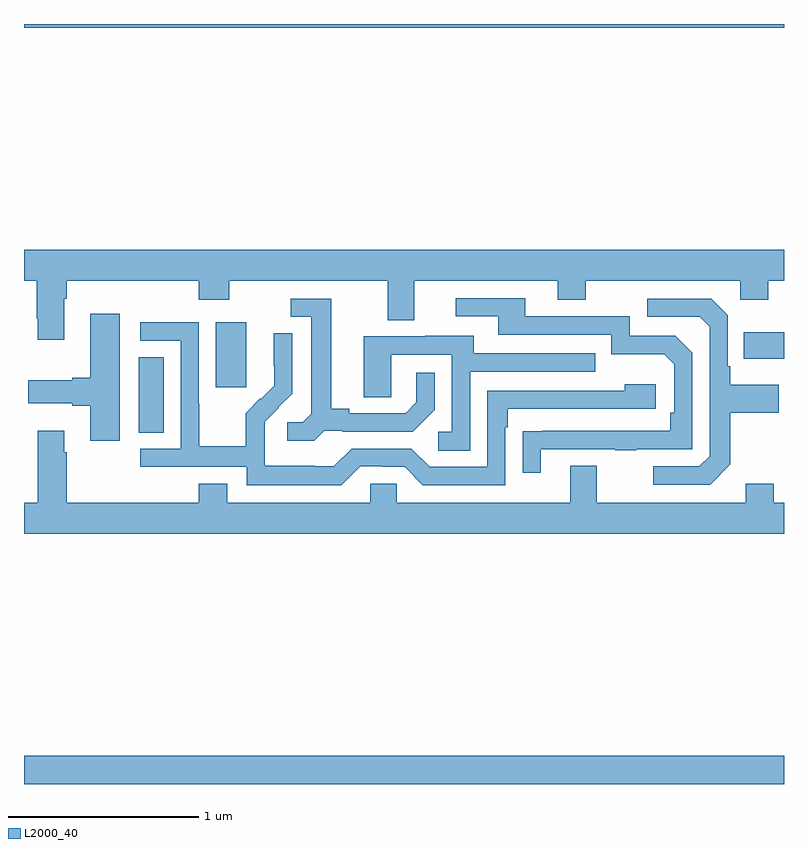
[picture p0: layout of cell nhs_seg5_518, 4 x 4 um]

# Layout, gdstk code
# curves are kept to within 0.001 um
import gdstk
lib = gdstk.Library(unit=1e-6, precision=1e-09)
def R(c, l, rs):  # rectangles x0, y0, x1, y1
    for r in rs: c.add(gdstk.rectangle(r[:2], r[2:], *l))
def P(c, l, *ps):  # polygons
    for p in ps: c.add(gdstk.Polygon(p, *l))
L2000_40 = (2000, 40)

nhs_seg5_518 = lib.new_cell('nhs_seg5_518')
R(nhs_seg5_518, L2000_40, [(145,832.799,149,832.948), (145.604,834.649,145.735,835.046), (146.009,834.888,146.17,835.228), (148.789,835.037,149,835.177), (145,836.78,149,836.799)])
P(nhs_seg5_518, L2000_40, [(145,835.448),(145.066,835.448),(145.066,835.249),(145.073,835.249),(145.073,835.137),(145.213,835.137),(145.213,835.352),(145.226,835.352),(145.226,835.448),(145.919,835.448),(145.919,835.349),(146.079,835.349),(146.079,835.448),(146.915,835.448),(146.915,835.24),(147.055,835.24),(147.055,835.448),(147.809,835.448),(147.809,835.349),(147.957,835.349),(147.957,835.448),(148.77,835.448),(148.77,835.349),(148.917,835.349),(148.917,835.448),(149,835.448),(149,835.612),(145,835.612)],
  [(147.721,834.561),(148.111,834.561),(148.111,834.556),(148.223,834.556),(148.223,834.561),(148.518,834.561),(148.518,835.068),(148.428,835.158),(148.188,835.158),(148.188,835.26),(147.637,835.26),(147.637,835.356),(147.273,835.356),(147.273,835.26),(147.497,835.26),(147.497,835.164),(148.092,835.164),(148.092,835.061),(148.369,835.061),(148.422,835.008),(148.422,834.754),(148.402,834.754),(148.402,834.657),(147.625,834.656),(147.625,834.438),(147.721,834.438)],
  [(146.58,834.657),(146.674,834.657),(146.674,834.654),(147.046,834.654),(147.162,834.77),(147.162,834.964),(147.065,834.964),(147.065,834.807),(147.008,834.75),(146.713,834.75),(146.713,834.773),(146.617,834.773),(146.617,835.353),(146.403,835.353),(146.403,835.257),(146.513,835.257),(146.513,834.749),(146.466,834.702),(146.385,834.702),(146.385,834.605),(146.528,834.605)],
  [(148.717,834.481),(148.717,834.754),(148.973,834.754),(148.973,834.901),(148.717,834.901),(148.717,834.997),(148.704,834.997),(148.704,835.266),(148.617,835.353),(148.281,835.353),(148.281,835.257),(148.557,835.257),(148.608,835.206),(148.608,834.525),(148.554,834.471),(148.311,834.471),(148.311,834.375),(148.611,834.375)],
  [(145.504,835.273),(145.349,835.273),(145.349,834.938),(145.253,834.938),(145.253,834.925),(145.023,834.925),(145.023,834.803),(145.253,834.803),(145.253,834.791),(145.349,834.791),(145.349,834.606),(145.504,834.606)],
  [(146.769,834.471),(146.885,834.471),(146.885,834.468),(147.003,834.468),(147.099,834.372),(147.534,834.372),(147.534,834.677),(147.547,834.677),(147.547,834.774),(148.324,834.774),(148.324,834.904),(148.163,834.904),(148.163,834.87),(147.438,834.87),(147.438,834.468),(147.135,834.468),(147.039,834.564),(146.724,834.564),(146.631,834.471),(146.531,834.471),(146.531,834.475),(146.268,834.475),(146.268,834.609),(146.266,834.609),(146.266,834.706),(146.412,834.854),(146.412,835.172),(146.315,835.172),(146.315,835),(146.318,835),(146.318,834.896),(146.247,834.825),(146.244,834.828),(146.167,834.751),(146.167,834.577),(145.923,834.577),(145.923,834.8),(145.92,834.8),(145.92,835.23),(145.611,835.23),(145.611,835.131),(145.824,835.131),(145.824,834.564),(145.611,834.564),(145.611,834.468),(146.172,834.468),(146.172,834.371),(146.669,834.371)],
  [(147.348,834.969),(148.007,834.969),(148.007,835.065),(147.367,835.065),(147.367,835.159),(147.113,835.159),(147.113,835.155),(146.789,835.155),(146.789,834.835),(146.934,834.835),(146.934,835.059),(147.252,835.059),(147.252,834.654),(147.18,834.654),(147.18,834.553),(147.348,834.553)],
  [(149,834.28),(148.947,834.28),(148.947,834.379),(148.799,834.379),(148.799,834.28),(148.015,834.28),(148.015,834.475),(147.875,834.475),(147.875,834.28),(146.961,834.28),(146.961,834.378),(146.823,834.378),(146.823,834.28),(146.071,834.28),(146.071,834.379),(145.919,834.379),(145.919,834.28),(145.226,834.28),(145.226,834.545),(145.213,834.545),(145.213,834.658),(145.073,834.658),(145.073,834.28),(145,834.28),(145,834.116),(149,834.116)])

lib.write_gds('nhs_seg5_518.gds')
